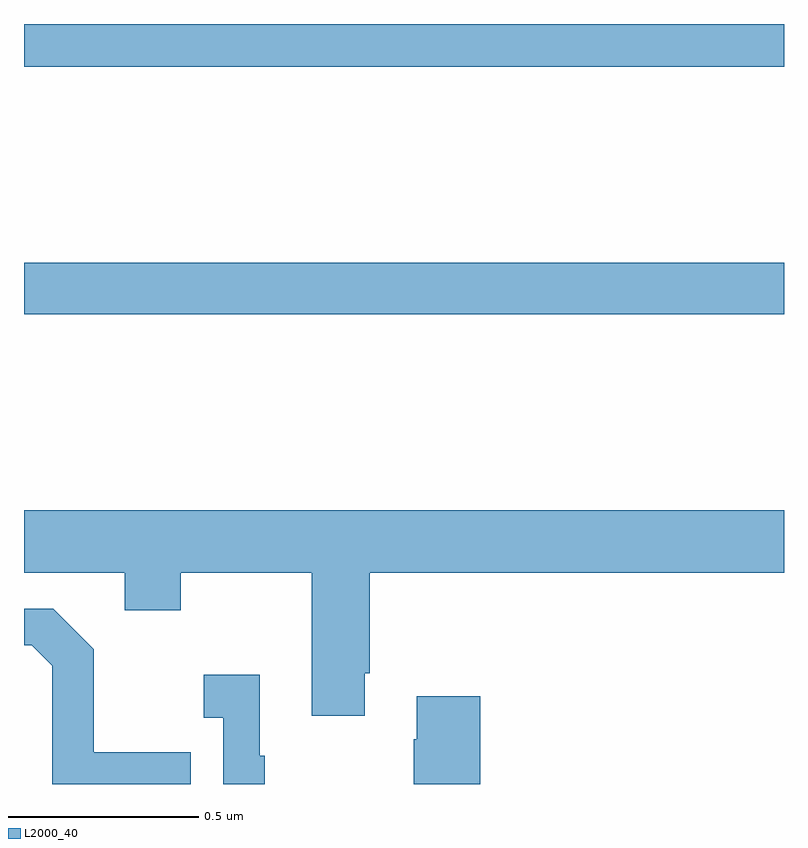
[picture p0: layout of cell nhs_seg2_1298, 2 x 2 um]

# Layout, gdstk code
import gdstk
lib = gdstk.Library(unit=1e-6, precision=1e-09)
def R(c, l, rs):  # rectangles x0, y0, x1, y1
    for r in rs: c.add(gdstk.rectangle(r[:2], r[2:], *l))
def P(c, l, *ps):  # polygons
    for p in ps: c.add(gdstk.Polygon(p, *l))
L2000_40 = (2000, 40)

nhs_seg2_1298 = lib.new_cell('nhs_seg2_1298')
R(nhs_seg2_1298, L2000_40, [(127,595.036,129,595.172), (127,595.688,129,595.8)])
P(nhs_seg2_1298, L2000_40, [(127.897,594.091),(127.91,594.091),(127.91,594.356),(129,594.356),(129,594.52),(127,594.52),(127,594.356),(127.265,594.356),(127.265,594.257),(127.413,594.257),(127.413,594.356),(127.757,594.356),(127.757,593.979),(127.897,593.979)],
  [(127.439,593.883),(127.183,593.883),(127.183,594.155),(127.077,594.261),(127,594.261),(127,594.165),(127.02,594.165),(127.074,594.111),(127.074,593.8),(127.439,593.8)],
  [(127.633,593.875),(127.621,593.875),(127.621,594.088),(127.473,594.088),(127.473,593.975),(127.524,593.975),(127.524,593.8),(127.633,593.8)],
  [(128.201,594.031),(128.033,594.031),(128.033,593.918),(128.026,593.918),(128.026,593.8),(128.201,593.8)])

lib.write_gds('nhs_seg2_1298.gds')
